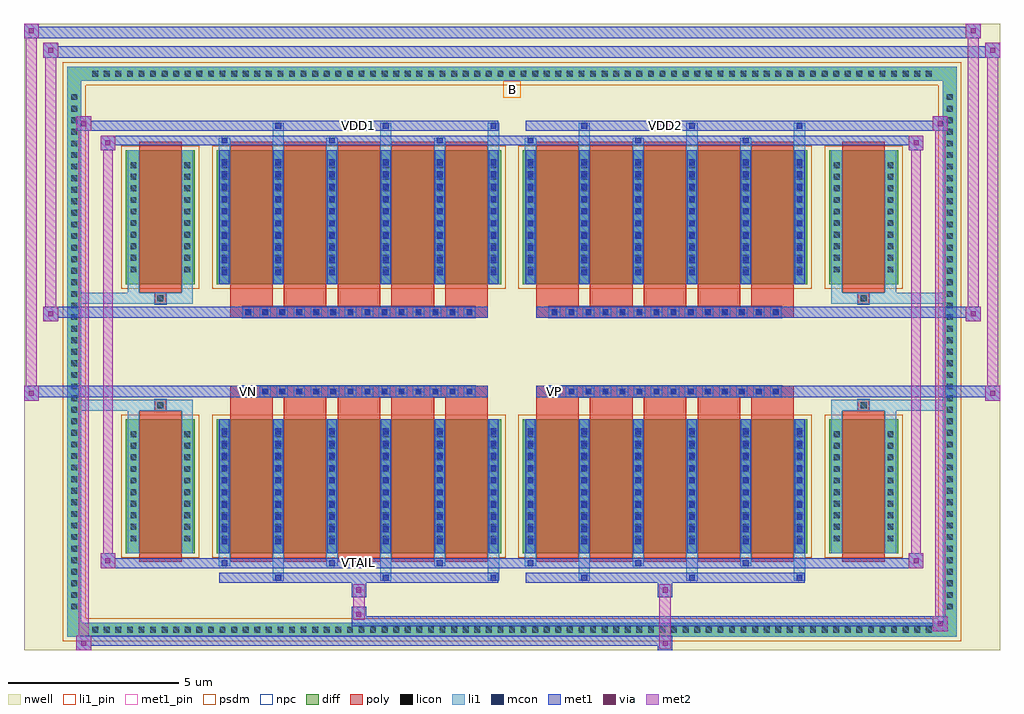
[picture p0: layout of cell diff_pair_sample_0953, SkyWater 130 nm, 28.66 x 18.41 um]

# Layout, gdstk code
import gdstk
lib = gdstk.Library(unit=1e-6, precision=5e-09)
def R(c, l, rs):  # rectangles x0, y0, x1, y1
    for r in rs: c.add(gdstk.rectangle(r[:2], r[2:], *l))
def A(c, l, x, y, w, h, nx, ny, dx, dy):  # array of equal rectangles
    R(c, l, [(x+i*dx, y+j*dy, x+i*dx+w, y+j*dy+h) for i in range(nx) for j in range(ny)])
def P(c, l, *ps):  # polygons
    for p in ps: c.add(gdstk.Polygon(p, *l))
nwell = (64, 20)
diff = (65, 20)
poly = (66, 20)
licon = (66, 44)
li1_pin = (67, 16)
li1 = (67, 20)
mcon = (67, 44)
met1_pin = (68, 16)
met1 = (68, 20)
via = (68, 44)
met2 = (69, 20)
psdm = (94, 20)
npc = (95, 20)

diff_pair_sample_0953 = lib.new_cell('diff_pair_sample_0953')
R(diff_pair_sample_0953, nwell, [(-14.33,-8.77,14.33,9.64), (-11.65,-6.96,-0.01,-0.8), (0.01,-6.96,11.65,-0.8), (-11.65,0.8,-0.01,6.96), (0.01,0.8,11.65,6.96)])
A(diff_pair_sample_0953, diff, -12.445, -8.37, 0.41, 0.41, 73, 2, 0.34, 16.33)
A(diff_pair_sample_0953, diff, -13.06, -7.685, 0.41, 0.41, 1, 45, 0, 0.34)
A(diff_pair_sample_0953, diff, 12.65, -7.685, 0.41, 0.41, 1, 45, 0, 0.34)
R(diff_pair_sample_0953, diff, [(-12.445,-8.37,12.445,-7.96), (-13.06,-7.685,-12.65,7.685), (12.65,-7.685,13.06,7.685), (-11.34,-5.915,-9.31,-1.985), (-8.67,-5.915,-0.32,-1.985), (0.32,-5.915,8.67,-1.985), (9.31,-5.915,11.34,-1.985), (-11.34,1.985,-9.31,5.915), (-8.67,1.985,-0.32,5.915), (0.32,1.985,8.67,5.915), (9.31,1.985,11.34,5.915), (-12.445,7.96,12.445,8.37)])
P(diff_pair_sample_0953, diff, [(13.06,8.37),(-13.06,8.37),(-13.06,-7.96),(-12.65,-7.96),(-12.65,7.96),(12.65,7.96),(12.65,-7.96),(-12.65,-7.96),(-13.06,-7.96),(-13.06,-8.37),(13.06,-8.37)])
A(diff_pair_sample_0953, poly, -8.28, -6.165, 1.25, 4.43, 5, 2, 1.58, 7.9)
A(diff_pair_sample_0953, poly, 0.71, -6.165, 1.25, 4.43, 5, 2, 1.58, 7.9)
A(diff_pair_sample_0953, poly, -8.28, -1.735, 1.25, 0.405, 5, 2, 1.58, 3.065)
A(diff_pair_sample_0953, poly, 0.71, -1.735, 1.25, 0.405, 5, 2, 1.58, 3.065)
A(diff_pair_sample_0953, poly, -7.91, -1.33, 0.33, 0.33, 14, 2, 0.5, 2.33)
A(diff_pair_sample_0953, poly, 1.08, -1.33, 0.33, 0.33, 14, 2, 0.5, 2.33)
R(diff_pair_sample_0953, poly, [(-10.95,-6.165,-9.7,-1.735), (9.7,-6.165,10.95,-1.735), (-10.49,-1.735,-10.16,-1.405), (-10.49,-1.735,-10.16,-1.405), (10.16,-1.735,10.49,-1.405), (10.16,-1.735,10.49,-1.405), (-8.28,-1.33,-0.71,-1), (0.71,-1.33,8.28,-1), (-8.28,1,-0.71,1.33), (0.71,1,8.28,1.33), (-10.49,1.405,-10.16,1.735), (-10.49,1.405,-10.16,1.735), (10.16,1.405,10.49,1.735), (10.16,1.405,10.49,1.735), (-10.95,1.735,-9.7,6.165), (9.7,1.735,10.95,6.165)])
A(diff_pair_sample_0953, licon, -12.325, -8.25, 0.17, 0.17, 73, 2, 0.34, 16.33)
A(diff_pair_sample_0953, licon, -12.94, -7.565, 0.17, 0.17, 1, 45, 0, 0.34)
A(diff_pair_sample_0953, licon, 12.77, -7.565, 0.17, 0.17, 1, 45, 0, 0.34)
A(diff_pair_sample_0953, licon, -11.2, -5.565, 0.17, 0.17, 1, 10, 0, 0.34)
A(diff_pair_sample_0953, licon, -9.62, -5.565, 0.17, 0.17, 1, 10, 0, 0.34)
A(diff_pair_sample_0953, licon, -8.53, -5.565, 0.17, 0.17, 6, 10, 1.58, 0.34)
A(diff_pair_sample_0953, licon, 0.46, -5.565, 0.17, 0.17, 6, 10, 1.58, 0.34)
A(diff_pair_sample_0953, licon, 9.45, -5.565, 0.17, 0.17, 1, 10, 0, 0.34)
A(diff_pair_sample_0953, licon, 11.03, -5.565, 0.17, 0.17, 1, 10, 0, 0.34)
A(diff_pair_sample_0953, licon, -7.83, -1.25, 0.17, 0.17, 14, 2, 0.5, 2.33)
A(diff_pair_sample_0953, licon, 1.16, -1.25, 0.17, 0.17, 14, 2, 0.5, 2.33)
A(diff_pair_sample_0953, licon, -11.2, 2.335, 0.17, 0.17, 1, 10, 0, 0.34)
A(diff_pair_sample_0953, licon, -9.62, 2.335, 0.17, 0.17, 1, 10, 0, 0.34)
A(diff_pair_sample_0953, licon, -8.53, 2.335, 0.17, 0.17, 6, 10, 1.58, 0.34)
A(diff_pair_sample_0953, licon, 0.46, 2.335, 0.17, 0.17, 6, 10, 1.58, 0.34)
A(diff_pair_sample_0953, licon, 9.45, 2.335, 0.17, 0.17, 1, 10, 0, 0.34)
A(diff_pair_sample_0953, licon, 11.03, 2.335, 0.17, 0.17, 1, 10, 0, 0.34)
R(diff_pair_sample_0953, licon, [(-10.41,-1.655,-10.24,-1.485), (10.24,-1.655,10.41,-1.485), (-10.41,1.485,-10.24,1.655), (10.24,1.485,10.41,1.655)])
R(diff_pair_sample_0953, li1_pin, [(-0.25,7.46,0.25,7.96)])
A(diff_pair_sample_0953, li1, -12.405, -8.33, 0.33, 0.33, 73, 2, 0.34, 16.33)
A(diff_pair_sample_0953, li1, -13.02, -7.645, 0.33, 0.33, 1, 45, 0, 0.34)
A(diff_pair_sample_0953, li1, 12.69, -7.645, 0.33, 0.33, 1, 45, 0, 0.34)
A(diff_pair_sample_0953, li1, -7.03, -6.72, 0.33, 0.805, 3, 2, 3.16, 12.635)
A(diff_pair_sample_0953, li1, -6.95, -6.72, 0.17, 0.17, 3, 2, 3.16, 13.27)
A(diff_pair_sample_0953, li1, 1.96, -6.72, 0.33, 0.805, 3, 2, 3.16, 12.635)
A(diff_pair_sample_0953, li1, 2.04, -6.72, 0.17, 0.17, 3, 2, 3.16, 13.27)
A(diff_pair_sample_0953, li1, -8.61, -6.29, 0.33, 0.375, 3, 2, 3.16, 12.205)
A(diff_pair_sample_0953, li1, -8.53, -6.29, 0.17, 0.17, 3, 2, 3.16, 12.41)
A(diff_pair_sample_0953, li1, 0.38, -6.29, 0.33, 0.375, 3, 2, 3.16, 12.205)
A(diff_pair_sample_0953, li1, 0.46, -6.29, 0.17, 0.17, 3, 2, 3.16, 12.41)
A(diff_pair_sample_0953, li1, -8.61, -5.915, 0.33, 3.93, 6, 2, 1.58, 7.9)
A(diff_pair_sample_0953, li1, 0.38, -5.915, 0.33, 3.93, 6, 2, 1.58, 7.9)
A(diff_pair_sample_0953, li1, -8.53, -5.655, 0.17, 0.17, 6, 10, 1.58, 0.36)
A(diff_pair_sample_0953, li1, -8.53, -5.655, 0.17, 3.41, 6, 2, 1.58, 7.9)
A(diff_pair_sample_0953, li1, 0.46, -5.655, 0.17, 0.17, 6, 10, 1.58, 0.36)
A(diff_pair_sample_0953, li1, 0.46, -5.655, 0.17, 3.41, 6, 2, 1.58, 7.9)
A(diff_pair_sample_0953, li1, -11.28, -5.645, 0.33, 0.33, 1, 10, 0, 0.34)
A(diff_pair_sample_0953, li1, -9.7, -5.645, 0.33, 0.33, 1, 10, 0, 0.34)
A(diff_pair_sample_0953, li1, -8.61, -5.645, 0.33, 0.33, 6, 10, 1.58, 0.34)
A(diff_pair_sample_0953, li1, 0.38, -5.645, 0.33, 0.33, 6, 10, 1.58, 0.34)
A(diff_pair_sample_0953, li1, 9.37, -5.645, 0.33, 0.33, 1, 10, 0, 0.34)
A(diff_pair_sample_0953, li1, 10.95, -5.645, 0.33, 0.33, 1, 10, 0, 0.34)
A(diff_pair_sample_0953, li1, -7.91, -1.33, 0.33, 0.33, 14, 2, 0.5, 2.33)
A(diff_pair_sample_0953, li1, 1.08, -1.33, 0.33, 0.33, 14, 2, 0.5, 2.33)
A(diff_pair_sample_0953, li1, -8.53, 2.245, 0.17, 0.17, 6, 10, 1.58, 0.36)
A(diff_pair_sample_0953, li1, 0.46, 2.245, 0.17, 0.17, 6, 10, 1.58, 0.36)
A(diff_pair_sample_0953, li1, -11.28, 2.255, 0.33, 0.33, 1, 10, 0, 0.34)
A(diff_pair_sample_0953, li1, -9.7, 2.255, 0.33, 0.33, 1, 10, 0, 0.34)
A(diff_pair_sample_0953, li1, -8.61, 2.255, 0.33, 0.33, 6, 10, 1.58, 0.34)
A(diff_pair_sample_0953, li1, 0.38, 2.255, 0.33, 0.33, 6, 10, 1.58, 0.34)
A(diff_pair_sample_0953, li1, 9.37, 2.255, 0.33, 0.33, 1, 10, 0, 0.34)
A(diff_pair_sample_0953, li1, 10.95, 2.255, 0.33, 0.33, 1, 10, 0, 0.34)
R(diff_pair_sample_0953, li1, [(-13.06,-8.37,-12.65,-7.96), (-13.06,-8.37,-12.65,-7.96), (-12.65,-8.37,12.65,-7.96), (12.65,-8.37,13.06,-7.96), (12.65,-8.37,13.06,-7.96), (-13.06,-7.96,-12.65,7.96), (12.65,-7.96,13.06,7.96), (-11.28,-5.915,-10.95,-1.985), (-9.7,-5.915,-9.37,-1.985), (9.37,-5.915,9.7,-1.985), (10.95,-5.915,11.28,-1.985), (-11.28,-1.985,-10.95,-1.405), (-9.7,-1.985,-9.37,-1.405), (9.37,-1.985,9.7,-1.405), (10.95,-1.985,11.28,-1.405), (-13.06,-1.735,-10.49,-1.405), (-11.28,-1.735,-10.49,-1.405), (-10.49,-1.735,-10.16,-1.405), (-10.16,-1.735,-9.37,-1.405), (9.37,-1.735,10.16,-1.405), (10.16,-1.735,10.49,-1.405), (10.16,-1.735,13.06,-1.405), (10.49,-1.735,11.28,-1.405), (-13.06,1.405,-10.49,1.735), (-11.28,1.405,-10.49,1.735), (-11.28,1.405,-10.95,1.985), (-10.49,1.405,-10.16,1.735), (-10.16,1.405,-9.37,1.735), (-9.7,1.405,-9.37,1.985), (9.37,1.405,10.16,1.735), (9.37,1.405,9.7,1.985), (10.16,1.405,10.49,1.735), (10.16,1.405,13.06,1.735), (10.49,1.405,11.28,1.735), (10.95,1.405,11.28,1.985), (-11.28,1.985,-10.95,5.915), (-9.7,1.985,-9.37,5.915), (9.37,1.985,9.7,5.915), (10.95,1.985,11.28,5.915), (-13.06,7.96,-12.65,8.37), (-13.06,7.96,-12.65,8.37), (-12.65,7.96,12.65,8.37), (12.65,7.96,13.06,8.37), (12.65,7.96,13.06,8.37)])
A(diff_pair_sample_0953, mcon, -6.95, -6.72, 0.17, 0.17, 3, 2, 3.16, 13.27)
A(diff_pair_sample_0953, mcon, 2.04, -6.72, 0.17, 0.17, 3, 2, 3.16, 13.27)
A(diff_pair_sample_0953, mcon, -8.53, -6.29, 0.17, 0.17, 3, 2, 3.16, 12.41)
A(diff_pair_sample_0953, mcon, 0.46, -6.29, 0.17, 0.17, 3, 2, 3.16, 12.41)
A(diff_pair_sample_0953, mcon, -8.53, -5.655, 0.17, 0.17, 6, 10, 1.58, 0.36)
A(diff_pair_sample_0953, mcon, 0.46, -5.655, 0.17, 0.17, 6, 10, 1.58, 0.36)
A(diff_pair_sample_0953, mcon, -7.83, -1.25, 0.17, 0.17, 14, 2, 0.5, 2.33)
A(diff_pair_sample_0953, mcon, 1.16, -1.25, 0.17, 0.17, 14, 2, 0.5, 2.33)
A(diff_pair_sample_0953, mcon, -8.53, 2.245, 0.17, 0.17, 6, 10, 1.58, 0.36)
A(diff_pair_sample_0953, mcon, 0.46, 2.245, 0.17, 0.17, 6, 10, 1.58, 0.36)
R(diff_pair_sample_0953, met1_pin, [(-4.63,-6.33,-4.36,-6.06), (-7.88,-1.29,-7.61,-1.02), (1.11,-1.29,1.38,-1.02), (-4.63,6.51,-4.36,6.78), (4.36,6.51,4.63,6.78)])
A(diff_pair_sample_0953, met1, -7.01, -6.78, 0.29, 0.29, 3, 2, 3.16, 13.27)
A(diff_pair_sample_0953, met1, 1.98, -6.78, 0.29, 0.29, 3, 2, 3.16, 13.27)
A(diff_pair_sample_0953, met1, -8.59, -6.35, 0.29, 0.29, 3, 2, 3.16, 12.41)
A(diff_pair_sample_0953, met1, 0.4, -6.35, 0.29, 0.29, 3, 2, 3.16, 12.41)
A(diff_pair_sample_0953, met1, -8.59, -5.915, 0.29, 3.93, 6, 2, 1.58, 7.9)
A(diff_pair_sample_0953, met1, 0.4, -5.915, 0.29, 3.93, 6, 2, 1.58, 7.9)
A(diff_pair_sample_0953, met1, -8.59, -5.715, 0.29, 0.29, 6, 10, 1.58, 0.36)
A(diff_pair_sample_0953, met1, 0.4, -5.715, 0.29, 0.29, 6, 10, 1.58, 0.36)
A(diff_pair_sample_0953, met1, -7.89, -1.31, 0.29, 0.29, 14, 2, 0.5, 2.33)
A(diff_pair_sample_0953, met1, 1.1, -1.31, 0.29, 0.29, 14, 2, 0.5, 2.33)
A(diff_pair_sample_0953, met1, -8.59, 2.185, 0.29, 0.29, 6, 10, 1.58, 0.36)
A(diff_pair_sample_0953, met1, 0.4, 2.185, 0.29, 0.29, 6, 10, 1.58, 0.36)
R(diff_pair_sample_0953, met1, [(-12.79,-8.77,-12.36,-8.34), (4.28,-8.77,4.71,-8.34), (-12.79,-8.63,4.71,-8.34), (12.36,-8.2,12.79,-7.77), (-4.71,-8.06,12.79,-7.77), (-4.71,-7.92,-4.28,-7.49), (-4.71,-7.21,-4.28,-6.78), (4.28,-7.21,4.71,-6.78), (-8.59,-6.78,-0.4,-6.49), (0.4,-6.78,8.59,-6.49), (-12.08,-6.35,-11.65,-5.92), (-12.08,-6.35,-8.59,-6.06), (-8.59,-6.35,-0.4,-6.06), (-0.4,-6.35,0.4,-6.06), (0.4,-6.35,8.59,-6.06), (8.59,-6.35,12.08,-6.06), (11.65,-6.35,12.08,-5.92), (-14.33,-1.43,-13.9,-1), (13.9,-1.43,14.33,-1), (-14.33,-1.33,-0.71,-1), (-8.28,-1.33,-0.71,-1), (0.71,-1.33,8.28,-1), (0.71,-1.33,14.33,-1), (-13.76,0.9,-13.33,1.33), (13.33,0.9,13.76,1.33), (-13.76,1,-8.28,1.33), (-8.28,1,-0.71,1.33), (0.71,1,8.28,1.33), (8.28,1,13.76,1.33), (-12.08,5.92,-11.65,6.35), (11.65,5.92,12.08,6.35), (-12.08,6.06,-8.59,6.35), (-8.59,6.06,-0.4,6.35), (-0.4,6.06,0.4,6.35), (0.4,6.06,8.59,6.35), (8.59,6.06,12.08,6.35), (-12.79,6.49,-12.36,6.92), (-12.79,6.49,-8.59,6.78), (-8.59,6.49,-0.4,6.78), (0.4,6.49,8.59,6.78), (8.59,6.49,12.79,6.78), (12.36,6.49,12.79,6.92), (-13.76,8.64,-13.33,9.07), (-13.76,8.64,-11.65,8.97), (-11.65,8.64,11.65,8.97), (11.65,8.64,14.33,8.97), (13.9,8.64,14.33,9.07), (-14.33,9.21,-13.9,9.64), (-14.33,9.21,-11.65,9.54), (-11.65,9.21,11.65,9.54), (11.65,9.21,13.76,9.54), (13.33,9.21,13.76,9.64)])
R(diff_pair_sample_0953, via, [(-12.65,-8.63,-12.5,-8.48), (4.42,-8.63,4.57,-8.48), (12.5,-8.06,12.65,-7.91), (-4.57,-7.78,-4.42,-7.63), (-4.57,-7.07,-4.42,-6.92), (4.42,-7.07,4.57,-6.92), (-11.94,-6.21,-11.79,-6.06), (11.79,-6.21,11.94,-6.06), (-14.19,-1.29,-14.04,-1.14), (14.04,-1.29,14.19,-1.14), (-13.62,1.04,-13.47,1.19), (13.47,1.04,13.62,1.19), (-11.94,6.06,-11.79,6.21), (11.79,6.06,11.94,6.21), (-12.65,6.63,-12.5,6.78), (12.5,6.63,12.65,6.78), (-13.62,8.78,-13.47,8.93), (14.04,8.78,14.19,8.93), (-14.19,9.35,-14.04,9.5), (13.47,9.35,13.62,9.5)])
R(diff_pair_sample_0953, met2, [(-12.79,-8.77,-12.36,-8.34), (-12.72,-8.77,-12.43,6.92), (-12.43,-8.77,-12.36,-8.34), (-12.74,-8.72,-12.41,-8.39), (4.33,-8.72,4.66,-8.39), (4.33,-8.39,4.66,-7.16), (12.36,-8.2,12.79,-7.77), (12.43,-8.2,12.72,6.92), (12.72,-8.2,12.79,-7.77), (12.41,-8.15,12.74,-7.82), (-4.66,-7.87,-4.33,-7.54), (-4.66,-7.54,-4.33,-7.16), (-4.66,-7.16,-4.33,-6.83), (4.33,-7.16,4.66,-6.83), (-12.08,-6.35,-11.65,-5.92), (-12.01,-6.35,-11.72,6.35), (-11.72,-6.35,-11.65,-5.92), (11.65,-6.35,12.08,-5.92), (11.72,-6.35,12.01,6.35), (12.01,-6.35,12.08,-5.92), (-12.03,-6.3,-11.7,-5.97), (11.7,-6.3,12.03,-5.97), (-14.33,-1.43,-13.9,-1), (-14.28,-1.43,-13.95,9.64), (-13.95,-1.43,-13.9,-1), (13.9,-1.43,14.33,-1), (13.95,-1.43,14.28,9.07), (14.28,-1.43,14.33,-1), (-14.28,-1.38,-13.95,-1.05), (13.95,-1.38,14.28,-1.05), (-13.76,0.9,-13.33,1.33), (-13.71,0.9,-13.38,9.07), (-13.38,0.9,-13.33,1.33), (13.33,0.9,13.76,1.33), (13.38,0.9,13.71,9.64), (13.71,0.9,13.76,1.33), (-13.71,0.95,-13.38,1.28), (13.38,0.95,13.71,1.28), (-12.08,5.92,-11.65,6.35), (-11.72,5.92,-11.65,6.35), (11.65,5.92,12.08,6.35), (12.01,5.92,12.08,6.35), (-12.03,5.97,-11.7,6.3), (11.7,5.97,12.03,6.3), (-12.79,6.49,-12.36,6.92), (-12.43,6.49,-12.36,6.92), (12.36,6.49,12.79,6.92), (12.72,6.49,12.79,6.92), (-12.74,6.54,-12.41,6.87), (12.41,6.54,12.74,6.87), (-13.76,8.64,-13.33,9.07), (-13.38,8.64,-13.33,9.07), (13.9,8.64,14.33,9.07), (14.28,8.64,14.33,9.07), (-13.71,8.69,-13.38,9.02), (13.95,8.69,14.28,9.02), (-14.33,9.21,-13.9,9.64), (-13.95,9.21,-13.9,9.64), (13.33,9.21,13.76,9.64), (13.71,9.21,13.76,9.64), (-14.28,9.26,-13.95,9.59), (13.38,9.26,13.71,9.59)])
R(diff_pair_sample_0953, psdm, [(-11.47,-6.045,-9.18,-1.855), (-8.8,-6.045,-0.19,-1.855), (0.19,-6.045,8.8,-1.855), (9.18,-6.045,11.47,-1.855), (-11.47,1.855,-9.18,6.045), (-8.8,1.855,-0.19,6.045), (0.19,1.855,8.8,6.045), (9.18,1.855,11.47,6.045)])
P(diff_pair_sample_0953, psdm, [(13.19,8.5),(-13.19,8.5),(-13.19,-7.83),(-12.52,-7.83),(-12.52,7.83),(12.52,7.83),(12.52,-7.83),(-12.52,-7.83),(-13.19,-7.83),(-13.19,-8.5),(13.19,-8.5)])
A(diff_pair_sample_0953, npc, -7.93, -1.35, 0.37, 0.37, 14, 2, 0.5, 2.33)
A(diff_pair_sample_0953, npc, 1.06, -1.35, 0.37, 0.37, 14, 2, 0.5, 2.33)
R(diff_pair_sample_0953, npc, [(-10.51,-1.755,-10.14,-1.385), (10.14,-1.755,10.51,-1.385), (-7.93,-1.35,-7.06,-0.98), (-7.93,-1.35,-7.06,-0.98), (-7.43,-1.35,-6.56,-0.98), (-7.43,-1.35,-6.56,-0.98), (-6.93,-1.35,-6.06,-0.98), (-6.93,-1.35,-6.06,-0.98), (-6.43,-1.35,-5.56,-0.98), (-6.43,-1.35,-5.56,-0.98), (-5.93,-1.35,-5.06,-0.98), (-5.93,-1.35,-5.06,-0.98), (-5.43,-1.35,-4.56,-0.98), (-5.43,-1.35,-4.56,-0.98), (-4.93,-1.35,-4.06,-0.98), (-4.93,-1.35,-4.06,-0.98), (-4.43,-1.35,-3.56,-0.98), (-4.43,-1.35,-3.56,-0.98), (-3.93,-1.35,-3.06,-0.98), (-3.93,-1.35,-3.06,-0.98), (-3.43,-1.35,-2.56,-0.98), (-3.43,-1.35,-2.56,-0.98), (-2.93,-1.35,-2.06,-0.98), (-2.93,-1.35,-2.06,-0.98), (-2.43,-1.35,-1.56,-0.98), (-2.43,-1.35,-1.56,-0.98), (-1.93,-1.35,-1.06,-0.98), (-1.93,-1.35,-1.06,-0.98), (1.06,-1.35,1.93,-0.98), (1.06,-1.35,1.93,-0.98), (1.56,-1.35,2.43,-0.98), (1.56,-1.35,2.43,-0.98), (2.06,-1.35,2.93,-0.98), (2.06,-1.35,2.93,-0.98), (2.56,-1.35,3.43,-0.98), (2.56,-1.35,3.43,-0.98), (3.06,-1.35,3.93,-0.98), (3.06,-1.35,3.93,-0.98), (3.56,-1.35,4.43,-0.98), (3.56,-1.35,4.43,-0.98), (4.06,-1.35,4.93,-0.98), (4.06,-1.35,4.93,-0.98), (4.56,-1.35,5.43,-0.98), (4.56,-1.35,5.43,-0.98), (5.06,-1.35,5.93,-0.98), (5.06,-1.35,5.93,-0.98), (5.56,-1.35,6.43,-0.98), (5.56,-1.35,6.43,-0.98), (6.06,-1.35,6.93,-0.98), (6.06,-1.35,6.93,-0.98), (6.56,-1.35,7.43,-0.98), (6.56,-1.35,7.43,-0.98), (7.06,-1.35,7.93,-0.98), (7.06,-1.35,7.93,-0.98), (-7.93,0.98,-7.06,1.35), (-7.93,0.98,-7.06,1.35), (-7.43,0.98,-6.56,1.35), (-7.43,0.98,-6.56,1.35), (-6.93,0.98,-6.06,1.35), (-6.93,0.98,-6.06,1.35), (-6.43,0.98,-5.56,1.35), (-6.43,0.98,-5.56,1.35), (-5.93,0.98,-5.06,1.35), (-5.93,0.98,-5.06,1.35), (-5.43,0.98,-4.56,1.35), (-5.43,0.98,-4.56,1.35), (-4.93,0.98,-4.06,1.35), (-4.93,0.98,-4.06,1.35), (-4.43,0.98,-3.56,1.35), (-4.43,0.98,-3.56,1.35), (-3.93,0.98,-3.06,1.35), (-3.93,0.98,-3.06,1.35), (-3.43,0.98,-2.56,1.35), (-3.43,0.98,-2.56,1.35), (-2.93,0.98,-2.06,1.35), (-2.93,0.98,-2.06,1.35), (-2.43,0.98,-1.56,1.35), (-2.43,0.98,-1.56,1.35), (-1.93,0.98,-1.06,1.35), (-1.93,0.98,-1.06,1.35), (1.06,0.98,1.93,1.35), (1.06,0.98,1.93,1.35), (1.56,0.98,2.43,1.35), (1.56,0.98,2.43,1.35), (2.06,0.98,2.93,1.35), (2.06,0.98,2.93,1.35), (2.56,0.98,3.43,1.35), (2.56,0.98,3.43,1.35), (3.06,0.98,3.93,1.35), (3.06,0.98,3.93,1.35), (3.56,0.98,4.43,1.35), (3.56,0.98,4.43,1.35), (4.06,0.98,4.93,1.35), (4.06,0.98,4.93,1.35), (4.56,0.98,5.43,1.35), (4.56,0.98,5.43,1.35), (5.06,0.98,5.93,1.35), (5.06,0.98,5.93,1.35), (5.56,0.98,6.43,1.35), (5.56,0.98,6.43,1.35), (6.06,0.98,6.93,1.35), (6.06,0.98,6.93,1.35), (6.56,0.98,7.43,1.35), (6.56,0.98,7.43,1.35), (7.06,0.98,7.93,1.35), (7.06,0.98,7.93,1.35), (-10.51,1.385,-10.14,1.755), (10.14,1.385,10.51,1.755)])
diff_pair_sample_0953.add(gdstk.Label('VTAIL', (-4.495,-6.195), layer=68, texttype=5))
diff_pair_sample_0953.add(gdstk.Label('VN', (-7.745,-1.155), layer=68, texttype=5))
diff_pair_sample_0953.add(gdstk.Label('VP', (1.245,-1.155), layer=68, texttype=5))
diff_pair_sample_0953.add(gdstk.Label('B', (0,7.71), layer=67, texttype=5))
diff_pair_sample_0953.add(gdstk.Label('VDD2', (4.495,6.645), layer=68, texttype=5))
diff_pair_sample_0953.add(gdstk.Label('VDD1', (-4.495,6.645), layer=68, texttype=5))

lib.write_gds('diff_pair_sample_0953.gds')
